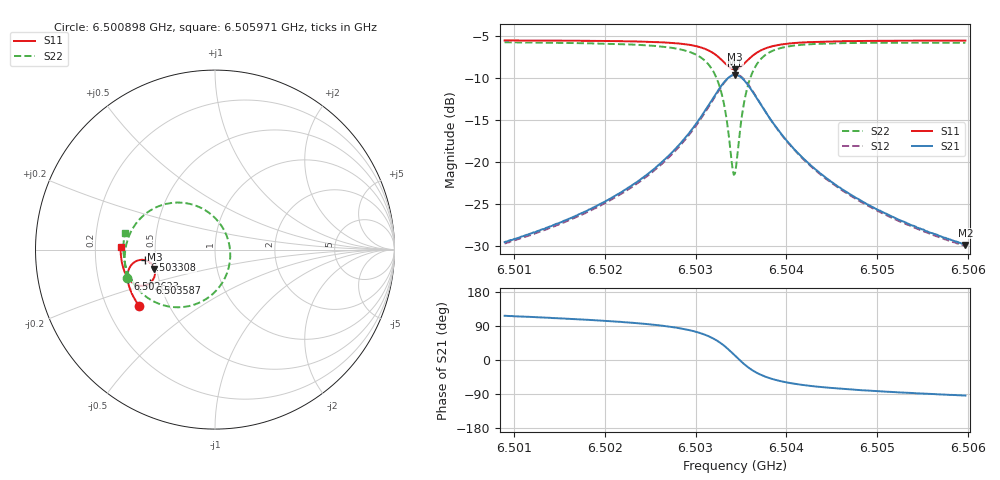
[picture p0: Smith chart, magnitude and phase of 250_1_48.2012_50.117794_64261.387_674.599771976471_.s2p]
#  HZ  S  RI  R  50.00
! Rohde & Schwarz Vector Network Analyzer
! Rohde-Schwarz,ZNB20-2Port,1311601062101988,3.16
! Created: UTC 3/20/2024, 11:47:13 AM
! freq[Hz]  re:S11  im:S11  re:S21  im:S21  re:S12  im:S12  re:S22  im:S22
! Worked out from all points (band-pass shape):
!   401 points, 6.500898 GHz to 6.505971 GHz, reference 50 ohm
!   highest |S21| = -9.67 dB at 6.503434 GHz (marker M1); lowest = -29.9 dB at 6.505971 GHz (marker M2)
!   |S21| within 3 dB of the highest: 6.50318 GHz to 6.503687 GHz (506.9 kHz wide, 0.00779 % of centre)
!   lowest |S11| = -9.0 dB at 6.503434 GHz (marker M3), VSWR 2.10, Z = 24.3 - j6 ohm
!   |S11| at or under -10 dB: nowhere
!   |S22| runs from -21.6 to -5.8 dB; largest |S21 - S12| = 0.011
!   S11 on the Smith chart (normalised r, x): 6.500898 GHz: 0.34, -0.29; 6.502623 GHz: 0.33, -0.15; 6.503308 GHz: 0.44, -0.06; 6.503587 GHz: 0.44, -0.20; 6.505971 GHz: 0.31, +0.01
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6.5008979e9  -0.4239 -0.3124  -0.015 0.0297  -0.0132 0.0299  -0.4885 -0.1588
6.5017476e9  -0.4607 -0.25  -0.0143 0.0473  -0.0119 0.0469  -0.5026 -0.0692
6.5021915e9  -0.4765 -0.2113  -0.0116 0.0653  -0.00872 0.0642  -0.5002 -0.00718
6.5025973e9  -0.4866 -0.167  -0.00257 0.096  0.00107 0.0937  -0.4807 0.072
6.5026227e9  -0.487 -0.1639  -0.00126 0.0986  0.00231 0.0963  -0.4781 0.0783
6.5029144e9  -0.4833 -0.1193  0.0258 0.1424  0.0296 0.1381  -0.4216 0.1675
6.5031046e9  -0.4621 -0.081  0.08 0.1845  0.0824 0.1783  -0.3183 0.2399
6.5032187e9  -0.4295 -0.0604  0.1489 0.2018  0.1498 0.1957  -0.1936 0.2619
6.5033075e9  -0.3892 -0.0588  0.2283 0.1853  0.2287 0.1803  -0.0566 0.2208
6.5033456e9  -0.37 -0.0665  0.2647 0.1621  0.2654 0.1576  0.003 0.1735
6.503409e9  -0.3435 -0.0934  0.3119 0.0979  0.3145 0.0929  0.0743 0.05
6.5034343e9  -0.3371 -0.108  0.322 0.0655  0.3251 0.0597  0.0846 -0.0101
6.5034597e9  -0.3344 -0.1236  0.3254 0.032  0.3287 0.025  0.0821 -0.0716
6.5035231e9  -0.3417 -0.1607  0.3066 -0.0456  0.3087 -0.0555  0.0258 -0.206
6.5035865e9  -0.3629 -0.1863  0.2636 -0.0992  0.2625 -0.1105  -0.0712 -0.2879
6.503688e9  -0.4023 -0.2014  0.1891 -0.135  0.1837 -0.1443  -0.2208 -0.3209
6.5038529e9  -0.4483 -0.1916  0.1078 -0.1316  0.1009 -0.1365  -0.3671 -0.2742
6.5040304e9  -0.4756 -0.1703  0.0635 -0.1117  0.0574 -0.1138  -0.4388 -0.2092
6.504284e9  -0.4962 -0.1402  0.0338 -0.0872  0.029 -0.0878  -0.4818 -0.1373
6.5046265e9  -0.5106 -0.1045  0.016 -0.066  0.0128 -0.0657  -0.5029 -0.0686
6.5051338e9  -0.5212 -0.0575  0.00501 -0.0478  0.00275 -0.047  -0.5102 0.00334
6.5059708e9  -0.526 0.0132  -0.00213 -0.0319  -0.00339 -0.0313  -0.5022 0.0913
